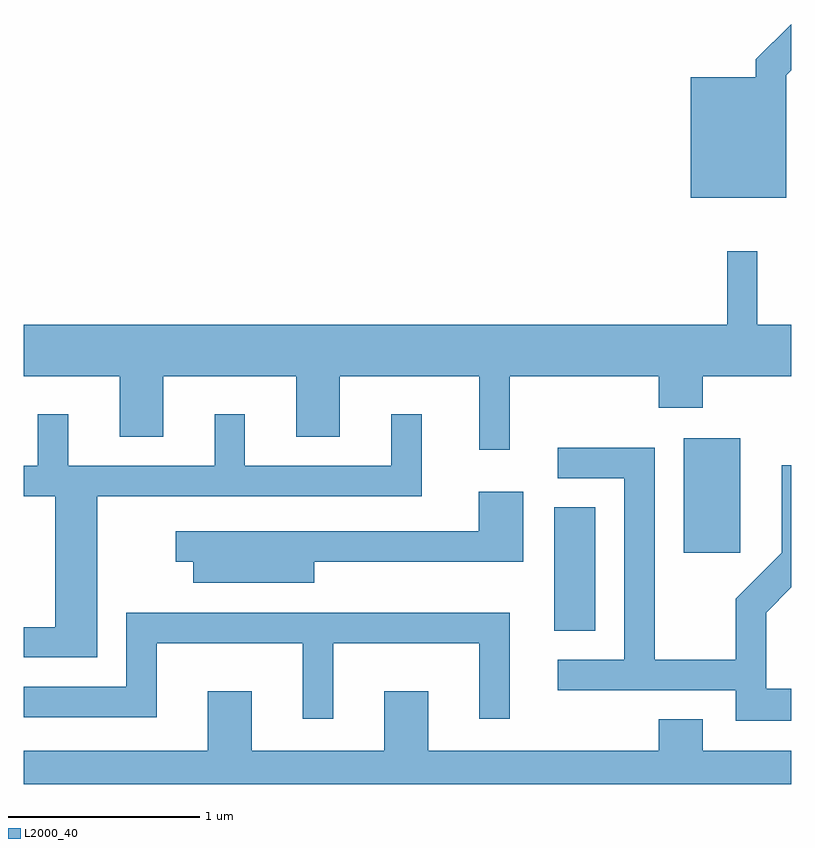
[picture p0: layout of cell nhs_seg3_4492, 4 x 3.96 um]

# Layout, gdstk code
import gdstk
lib = gdstk.Library(unit=1e-6, precision=1e-09)
def R(c, l, rs):  # rectangles x0, y0, x1, y1
    for r in rs: c.add(gdstk.rectangle(r[:2], r[2:], *l))
def P(c, l, *ps):  # polygons
    for p in ps: c.add(gdstk.Polygon(p, *l))
L2000_40 = (2000, 40)

nhs_seg3_4492 = lib.new_cell('nhs_seg3_4492')
R(nhs_seg3_4492, L2000_40, [(320.376,1124.691,320.589,1125.334), (321.051,1125.096,321.344,1125.694)])
P(nhs_seg3_4492, L2000_40, [(321.584,1127.584),(321.611,1127.611),(321.611,1127.851),(321.426,1127.667),(321.426,1127.574),(321.086,1127.574),(321.086,1126.946),(321.584,1126.946)],
  [(320.144,1126.016),(320.921,1126.016),(320.921,1125.851),(321.149,1125.851),(321.149,1126.016),(321.611,1126.016),(321.611,1126.284),(321.434,1126.284),(321.434,1126.668),(321.276,1126.668),(321.276,1126.284),(317.611,1126.284),(317.611,1126.016),(318.111,1126.016),(318.111,1125.701),(318.339,1125.701),(318.339,1126.016),(319.031,1126.016),(319.031,1125.701),(319.259,1125.701),(319.259,1126.016),(319.986,1126.016),(319.986,1125.633),(320.144,1125.633)],
  [(317.994,1125.391),(319.684,1125.391),(319.684,1125.818),(319.526,1125.818),(319.526,1125.549),(318.764,1125.549),(318.764,1125.818),(318.606,1125.818),(318.606,1125.549),(317.844,1125.549),(317.844,1125.818),(317.686,1125.818),(317.686,1125.549),(317.611,1125.549),(317.611,1125.391),(317.776,1125.391),(317.776,1124.709),(317.611,1124.709),(317.611,1124.551),(317.994,1124.551)],
  [(321.611,1124.389),(321.479,1124.389),(321.479,1124.784),(321.611,1124.916),(321.611,1125.553),(321.561,1125.553),(321.561,1125.097),(321.321,1124.857),(321.321,1124.539),(320.899,1124.539),(320.899,1125.644),(320.393,1125.644),(320.393,1125.486),(320.741,1125.486),(320.741,1124.539),(320.393,1124.539),(320.393,1124.381),(321.321,1124.381),(321.321,1124.221),(321.611,1124.221)],
  [(319.124,1125.051),(320.214,1125.051),(320.214,1125.414),(319.981,1125.414),(319.981,1125.209),(318.403,1125.209),(318.403,1125.051),(318.496,1125.051),(318.496,1124.941),(319.124,1124.941)],
  [(319.224,1124.626),(319.986,1124.626),(319.986,1124.233),(320.144,1124.233),(320.144,1124.784),(318.146,1124.784),(318.146,1124.399),(317.611,1124.399),(317.611,1124.241),(318.304,1124.241),(318.304,1124.626),(319.066,1124.626),(319.066,1124.233),(319.224,1124.233)],
  [(321.611,1124.064),(321.149,1124.064),(321.149,1124.229),(320.921,1124.229),(320.921,1124.064),(319.719,1124.064),(319.719,1124.374),(319.491,1124.374),(319.491,1124.064),(318.799,1124.064),(318.799,1124.374),(318.571,1124.374),(318.571,1124.064),(317.611,1124.064),(317.611,1123.892),(321.611,1123.892)])

lib.write_gds('nhs_seg3_4492.gds')
